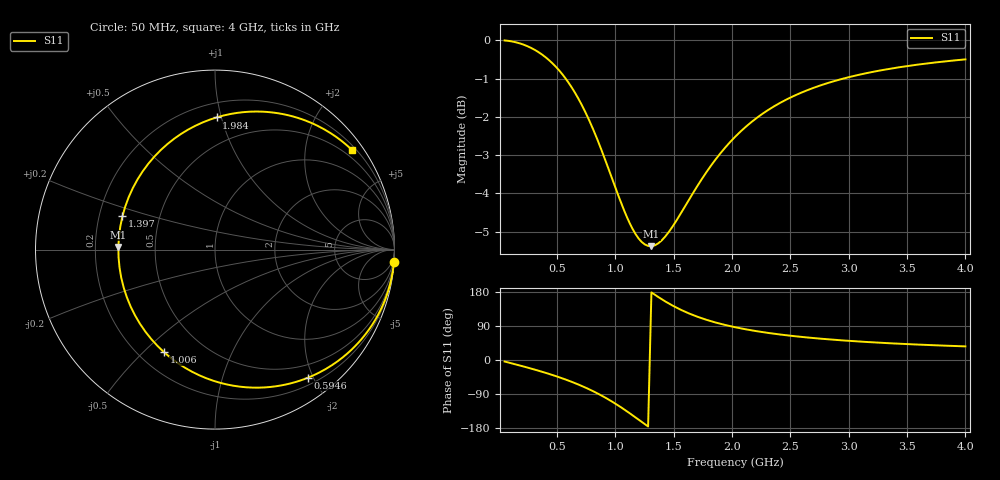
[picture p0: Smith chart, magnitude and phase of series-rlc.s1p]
! Series RLC demo load: R=15 ohm, L=6.8 nH, C=2.2 pF
! Resonant near 1.3 GHz; sweeps a classic arc through the chart
# MHz S RI R 50
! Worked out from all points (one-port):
!   201 points, 50 MHz to 4 GHz, reference 50 ohm
!   lowest |S11| = -5.4 dB at 1.308 GHz (marker M1), VSWR 3.33, Z = 15 + j0.619 ohm
!   |S11| at or under -10 dB: nowhere
!   S11 on the Smith chart (normalised r, x): 50 MHz: 0, -29; 594.6 MHz: 0.30, -1.93; 1.006 GHz: 0.30, -0.58; 1.397 GHz: 0.30, +0.16; 1.984 GHz: 0.30, +0.97; 4 GHz: 0.30, +3.06
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50  0.9969 -0.0691
178.183  0.9601 -0.2445
301.465  0.8835 -0.407
428.04  0.7587 -0.5594
544.696  0.5994 -0.6752
594.588  0.5182 -0.7135
708.499  0.3074 -0.7654
808.039  0.1035 -0.7586
901.591  -0.0896 -0.6993
1005.97  -0.2841 -0.5716
1051.04  -0.3549 -0.4987
1122.44  -0.4454 -0.3668
1172.72  -0.4911 -0.2657
1252.39  -0.5319 -0.1003
1308.49  -0.5383 0.0146
1397.39  -0.5159 0.185
1559.18  -0.4027 0.4363
1665.11  -0.3021 0.5548
1739.69  -0.227 0.6182
1857.89  -0.1091 0.6901
1984.11  0.00899 0.7366
2028.06  0.0475 0.7471
2262.86  0.2274 0.7692
2524.85  0.381 0.7544
2756.12  0.4841 0.7263
3075.21  0.5902 0.6801
3507.25  0.6893 0.6176
4000  0.7643 0.5541
